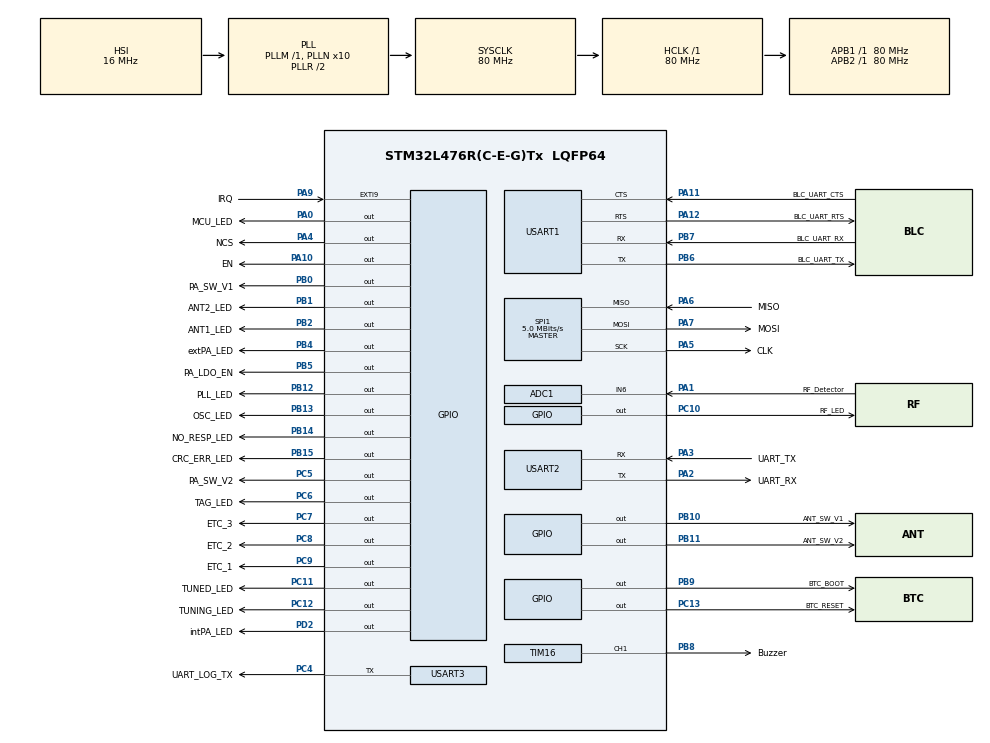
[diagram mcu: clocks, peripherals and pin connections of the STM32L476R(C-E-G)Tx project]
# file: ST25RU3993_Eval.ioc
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ADC1.Channel-0\#ChannelRegularConversion=ADC_CHANNEL_6
ADC1.NbrOfConversionFlag=1
ADC1.OffsetNumber-0\#ChannelRegularConversion=ADC_OFFSET_NONE
ADC1.Rank-0\#ChannelRegularConversion=1
ADC1.SamplingTime-0\#ChannelRegularConversion=ADC_SAMPLETIME_2CYCLES_5
ADC1.master=1
Dma.Request0=USART3_TX
Dma.Request1=USART2_TX
Dma.Request2=USART2_RX
Dma.USART2_RX.2.Direction=DMA_PERIPH_TO_MEMORY
Dma.USART2_RX.2.Instance=DMA1_Channel6
Dma.USART2_RX.2.MemDataAlignment=DMA_MDATAALIGN_BYTE
Dma.USART2_RX.2.MemInc=DMA_MINC_ENABLE
Dma.USART2_RX.2.Mode=DMA_CIRCULAR
Dma.USART2_RX.2.PeriphDataAlignment=DMA_PDATAALIGN_BYTE
Dma.USART2_RX.2.PeriphInc=DMA_PINC_DISABLE
Dma.USART2_RX.2.Priority=DMA_PRIORITY_MEDIUM
Dma.USART2_TX.1.Direction=DMA_MEMORY_TO_PERIPH
Dma.USART2_TX.1.Instance=DMA1_Channel7
Dma.USART2_TX.1.MemDataAlignment=DMA_MDATAALIGN_BYTE
Dma.USART2_TX.1.MemInc=DMA_MINC_ENABLE
Dma.USART2_TX.1.Mode=DMA_NORMAL
Dma.USART2_TX.1.PeriphDataAlignment=DMA_PDATAALIGN_BYTE
Dma.USART2_TX.1.PeriphInc=DMA_PINC_DISABLE
Dma.USART2_TX.1.Priority=DMA_PRIORITY_MEDIUM
Dma.USART3_TX.0.Direction=DMA_MEMORY_TO_PERIPH
Dma.USART3_TX.0.Instance=DMA1_Channel2
Dma.USART3_TX.0.MemDataAlignment=DMA_MDATAALIGN_BYTE
Dma.USART3_TX.0.MemInc=DMA_MINC_ENABLE
Dma.USART3_TX.0.Mode=DMA_NORMAL
Dma.USART3_TX.0.PeriphDataAlignment=DMA_PDATAALIGN_BYTE
Dma.USART3_TX.0.PeriphInc=DMA_PINC_DISABLE
Dma.USART3_TX.0.Priority=DMA_PRIORITY_LOW
Mcu.Family=STM32L4
Mcu.Name=STM32L476R(C-E-G)Tx
Mcu.Package=LQFP64
NVIC.ADC1_2_IRQn=true\:0\:0\:false\:false\:true\:true\:true
NVIC.DMA1_Channel2_IRQn=true\:0\:0\:false\:false\:true\:true\:true
NVIC.DMA1_Channel6_IRQn=true\:0\:0\:false\:false\:true\:true\:true
NVIC.DMA1_Channel7_IRQn=true\:0\:0\:false\:false\:true\:true\:true
NVIC.EXTI9_5_IRQn=true\:15\:0\:true\:false\:true\:true\:true
NVIC.PriorityGroup=NVIC_PRIORITYGROUP_4
NVIC.RTC_Alarm_IRQn=true\:0\:0\:false\:false\:true\:true\:true
NVIC.TIM4_IRQn=true\:0\:0\:false\:false\:true\:true\:true
NVIC.TIM5_IRQn=true\:0\:0\:false\:false\:true\:true\:true
NVIC.USART1_IRQn=true\:0\:0\:false\:false\:true\:true\:true
NVIC.USART2_IRQn=true\:2\:0\:true\:false\:true\:true\:true
NVIC.USART3_IRQn=true\:0\:0\:false\:false\:true\:true\:true
PA0.GPIO_Label=MCU_LED
PA0.GPIO_ModeDefaultOutputPP=GPIO_MODE_OUTPUT_PP
PA0.GPIO_PuPd=GPIO_NOPULL
PA0.GPIO_Speed=GPIO_SPEED_FREQ_LOW
PA0.PinState=GPIO_PIN_SET
PA0.Signal=GPIO_Output
PA1.GPIO_Label=RF_Detector
PA1.Signal=ADCx_IN6
PA10.GPIO_Label=EN
PA10.GPIO_Speed=GPIO_SPEED_FREQ_VERY_HIGH
PA10.Signal=GPIO_Output
PA11.GPIO_Label=BLC_UART_CTS
PA11.Mode=CTS_RTS
PA11.Signal=USART1_CTS
PA12.GPIO_Label=BLC_UART_RTS
PA12.Mode=CTS_RTS
PA12.Signal=USART1_RTS
PA13\ (JTMS-SWDIO).GPIO_Label=SWDIO
PA13\ (JTMS-SWDIO).Mode=Serial_Wire
PA13\ (JTMS-SWDIO).Signal=SYS_JTMS-SWDIO
PA14\ (JTCK-SWCLK).GPIO_Label=SWCLK
PA14\ (JTCK-SWCLK).Mode=Serial_Wire
PA14\ (JTCK-SWCLK).Signal=SYS_JTCK-SWCLK
PA15\ (JTDI).Signal=SYS_JTDI
PA2.GPIO_Label=UART_RX
PA2.Mode=Asynchronous
PA2.Signal=USART2_TX
PA3.GPIO_Label=UART_TX
PA3.Mode=Asynchronous
PA3.Signal=USART2_RX
PA4.GPIO_Label=NCS
PA4.GPIO_ModeDefaultOutputPP=GPIO_MODE_OUTPUT_PP
PA4.GPIO_Speed=GPIO_SPEED_FREQ_VERY_HIGH
PA4.PinState=GPIO_PIN_SET
PA4.Signal=GPIO_Output
PA5.GPIO_Label=CLK
PA5.Mode=Full_Duplex_Master
PA5.Signal=SPI1_SCK
PA6.GPIO_Label=MISO
PA6.Mode=Full_Duplex_Master
PA6.Signal=SPI1_MISO
PA7.GPIO_Label=MOSI
PA7.Mode=Full_Duplex_Master
PA7.Signal=SPI1_MOSI
PA9.GPIO_Label=IRQ
PA9.Signal=GPXTI9
PB0.GPIO_Label=PA_SW_V1
PB0.GPIO_Speed=GPIO_SPEED_FREQ_VERY_HIGH
PB0.PinState=GPIO_PIN_RESET
PB0.Signal=GPIO_Output
PB1.GPIO_Label=ANT2_LED
PB1.PinState=GPIO_PIN_SET
PB1.Signal=GPIO_Output
PB10.GPIO_Label=ANT_SW_V1
PB10.GPIO_Speed=GPIO_SPEED_FREQ_LOW
PB10.PinState=GPIO_PIN_RESET
PB10.Signal=GPIO_Output
PB11.GPIO_Label=ANT_SW_V2
PB11.PinState=GPIO_PIN_SET
PB11.Signal=GPIO_Output
PB12.GPIO_Label=PLL_LED
PB12.GPIO_ModeDefaultOutputPP=GPIO_MODE_OUTPUT_PP
PB12.GPIO_PuPd=GPIO_NOPULL
PB12.GPIO_Speed=GPIO_SPEED_FREQ_LOW
PB12.PinState=GPIO_PIN_SET
PB12.Signal=GPIO_Output
PB13.GPIO_Label=OSC_LED
PB13.GPIO_ModeDefaultOutputPP=GPIO_MODE_OUTPUT_PP
PB13.GPIO_PuPd=GPIO_NOPULL
PB13.GPIO_Speed=GPIO_SPEED_FREQ_LOW
PB13.PinState=GPIO_PIN_SET
PB13.Signal=GPIO_Output
PB14.GPIO_Label=NO_RESP_LED
PB14.GPIO_ModeDefaultOutputPP=GPIO_MODE_OUTPUT_PP
PB14.GPIO_PuPd=GPIO_NOPULL
PB14.GPIO_Speed=GPIO_SPEED_FREQ_LOW
PB14.PinState=GPIO_PIN_SET
PB14.Signal=GPIO_Output
PB15.GPIO_Label=CRC_ERR_LED
PB15.GPIO_ModeDefaultOutputPP=GPIO_MODE_OUTPUT_PP
PB15.GPIO_PuPd=GPIO_NOPULL
PB15.GPIO_Speed=GPIO_SPEED_FREQ_LOW
PB15.PinState=GPIO_PIN_SET
PB15.Signal=GPIO_Output
PB2.GPIO_Label=ANT1_LED
PB2.PinState=GPIO_PIN_SET
PB2.Signal=GPIO_Output
PB3\ (JTDO-TRACESWO).Signal=SYS_JTDO-SWO
PB4\ (NJTRST).GPIO_Label=extPA_LED
PB4\ (NJTRST).GPIO_ModeDefaultOutputPP=GPIO_MODE_OUTPUT_PP
PB4\ (NJTRST).GPIO_PuPd=GPIO_NOPULL
PB4\ (NJTRST).GPIO_Speed=GPIO_SPEED_FREQ_LOW
PB4\ (NJTRST).PinState=GPIO_PIN_SET
PB4\ (NJTRST).Signal=GPIO_Output
PB5.GPIO_Label=PA_LDO_EN
PB5.GPIO_Speed=GPIO_SPEED_FREQ_VERY_HIGH
PB5.Signal=GPIO_Output
PB6.GPIO_Label=BLC_UART_TX
PB6.Mode=Asynchronous
PB6.Signal=USART1_TX
PB7.GPIO_Label=BLC_UART_RX
PB7.Mode=Asynchronous
PB7.Signal=USART1_RX
PB8.GPIO_FM8=I2C_FASTMODEPLUS_PB8
PB8.GPIO_Label=Buzzer
PB8.GPIO_Speed=GPIO_SPEED_FREQ_VERY_HIGH
PB8.Signal=S_TIM16_CH1
PB9.GPIO_Label=BTC_BOOT
PB9.PinState=GPIO_PIN_RESET
PB9.Signal=GPIO_Output
PC10.GPIO_Label=RF_LED
PC10.GPIO_ModeDefaultOutputPP=GPIO_MODE_OUTPUT_PP
PC10.GPIO_PuPd=GPIO_NOPULL
PC10.GPIO_Speed=GPIO_SPEED_FREQ_LOW
PC10.PinState=GPIO_PIN_SET
PC10.Signal=GPIO_Output
PC11.GPIO_Label=TUNED_LED
PC11.GPIO_ModeDefaultOutputPP=GPIO_MODE_OUTPUT_PP
PC11.GPIO_PuPd=GPIO_NOPULL
PC11.GPIO_Speed=GPIO_SPEED_FREQ_LOW
PC11.PinState=GPIO_PIN_SET
PC11.Signal=GPIO_Output
PC12.GPIO_Label=TUNING_LED
PC12.GPIO_ModeDefaultOutputPP=GPIO_MODE_OUTPUT_PP
PC12.GPIO_PuPd=GPIO_NOPULL
PC12.GPIO_Speed=GPIO_SPEED_FREQ_LOW
PC12.PinState=GPIO_PIN_SET
PC12.Signal=GPIO_Output
PC13.GPIO_Label=BTC_RESET
PC13.PinState=GPIO_PIN_SET
PC13.Signal=GPIO_Output
PC14-OSC32_IN\ (PC14).GPIO_Label=OSC32_IN
PC14-OSC32_IN\ (PC14).Mode=LSE-External-Oscillator
PC14-OSC32_IN\ (PC14).Signal=RCC_OSC32_IN
PC15-OSC32_OUT\ (PC15).GPIO_Label=OSC32_OUT
PC15-OSC32_OUT\ (PC15).Mode=LSE-External-Oscillator
PC15-OSC32_OUT\ (PC15).Signal=RCC_OSC32_OUT
PC4.GPIO_Label=UART_LOG_TX
PC4.Mode=Half_duplex(single_wire_mode)
PC4.Signal=USART3_TX
PC5.GPIO_Label=PA_SW_V2
PC5.GPIO_Speed=GPIO_SPEED_FREQ_VERY_HIGH
PC5.PinState=GPIO_PIN_SET
PC5.Signal=GPIO_Output
PC6.GPIO_Label=TAG_LED
PC6.GPIO_ModeDefaultOutputPP=GPIO_MODE_OUTPUT_PP
PC6.GPIO_PuPd=GPIO_NOPULL
PC6.GPIO_Speed=GPIO_SPEED_FREQ_LOW
PC6.PinState=GPIO_PIN_SET
PC6.Signal=GPIO_Output
PC7.GPIO_Label=ETC_3
PC7.GPIO_Speed=GPIO_SPEED_FREQ_VERY_HIGH
PC7.Signal=GPIO_Output
PC8.GPIO_Label=ETC_2
PC8.GPIO_Speed=GPIO_SPEED_FREQ_VERY_HIGH
PC8.Signal=GPIO_Output
PC9.GPIO_Label=ETC_1
PC9.GPIO_Speed=GPIO_SPEED_FREQ_VERY_HIGH
PC9.Signal=GPIO_Output
PD2.GPIO_Label=intPA_LED
PD2.GPIO_ModeDefaultOutputPP=GPIO_MODE_OUTPUT_PP
PD2.GPIO_PuPd=GPIO_NOPULL
PD2.GPIO_Speed=GPIO_SPEED_FREQ_LOW
PD2.PinState=GPIO_PIN_SET
PD2.Signal=GPIO_Output
ProjectManager.HeapSize=0x900
ProjectManager.StackSize=0x900
ProjectManager.TargetToolchain=MDK-ARM V5
RCC.ADCFreq_Value=64000000
RCC.AHBFreq_Value=80000000
RCC.APB1Freq_Value=80000000
RCC.APB1TimFreq_Value=80000000
RCC.APB2Freq_Value=80000000
RCC.APB2TimFreq_Value=80000000
RCC.CortexFreq_Value=80000000
RCC.HCLKFreq_Value=80000000
RCC.HSE_VALUE=8000000
RCC.HSI_VALUE=16000000
RCC.MSI_VALUE=4000000
RCC.PLLN=10
RCC.PLLSourceVirtual=RCC_PLLSOURCE_HSI
RCC.PREFETCH_ENABLE=1
RCC.RTCClockSelection=RCC_RTCCLKSOURCE_LSE
RCC.SYSCLKFreq_VALUE=80000000
RCC.SYSCLKSource=RCC_SYSCLKSOURCE_PLLCLK
RCC.USBFreq_Value=64000000
RCC.VCOOutputFreq_Value=160000000
RTC.Alarm-Alarm\ A=RTC_ALARM_A
RTC.AlarmMaskDateWeekDay-Alarm\ A=RTC_ALARMMASK_DATEWEEKDAY
RTC.AlarmMaskHours-Alarm\ A=RTC_ALARMMASK_HOURS
RTC.AlarmMaskMinutes-Alarm\ A=RTC_ALARMMASK_MINUTES
RTC.AlarmMaskSeconds-Alarm\ A=RTC_ALARMMASK_SECONDS
RTC.AsynchPrediv=0
RTC.Seconds_A-Alarm\ A=1
RTC.SynchPrediv=326
SH.ADCx_IN6.0=ADC1_IN6,IN6-Single-Ended
SH.S_TIM16_CH1.0=TIM16_CH1,PWM Generation1 CH1
SPI1.BaudRatePrescaler=SPI_BAUDRATEPRESCALER_16
SPI1.CLKPhase=SPI_PHASE_2EDGE
SPI1.CLKPolarity=SPI_POLARITY_LOW
SPI1.CalculateBaudRate=5.0 MBits/s
SPI1.DataSize=SPI_DATASIZE_8BIT
SPI1.Direction=SPI_DIRECTION_2LINES
SPI1.Mode=SPI_MODE_MASTER
SPI1.VirtualType=VM_MASTER
TIM16.Channel=TIM_CHANNEL_1
TIM16.Period=25-1
TIM16.Prescaler=40000-1
TIM16.Pulse=25-1
TIM4.Period=600-1
TIM4.Prescaler=40000-1
TIM5.Period=13-1
TIM5.Prescaler=80-1
USART1.VirtualMode-Asynchronous=VM_ASYNC
USART1.WordLength=WORDLENGTH_8B
USART2.SwapParam=ADVFEATURE_SWAP_DISABLE
USART2.VirtualMode-Asynchronous=VM_ASYNC
USART2.WordLength=WORDLENGTH_8B
USART3.Mode=MODE_TX
USART3.VirtualMode-Half_duplex(single_wire_mode)=VM_ASYNC
USART3.WordLength=WORDLENGTH_8B
VP_RTC_VS_RTC_Activate.Mode=RTC_Enabled
VP_RTC_VS_RTC_Alarm_A_Intern.Mode=Alarm A
VP_RTC_VS_RTC_Calendar.Mode=RTC_Calendar
VP_TIM16_VS_ClockSourceINT.Mode=Enable_Timer
VP_TIM4_VS_ClockSourceINT.Mode=Internal
VP_TIM5_VS_ClockSourceINT.Mode=Internal
board=ST25RU3993_Eval

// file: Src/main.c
/* USER CODE BEGIN Header */
/**
  ******************************************************************************
  * @file           : main.c
  * @brief          : Main program body
  ******************************************************************************
  * @attention
  *
  * <h2><center>&copy; Copyright (c) 2020 STMicroelectronics.
  * All rights reserved.</center></h2>
  *
  * This software component is licensed by ST under BSD 3-Clause license,
  * the "License"; You may not use this file except in compliance with the
  * License. You may obtain a copy of the License at:
  *                        opensource.org/licenses/BSD-3-Clause
  *
  ******************************************************************************
  */
/* USER CODE END Header */

#include "main.h"
#include "adc.h"
#include "dma.h"
#include "rtc.h"
#include "spi.h"
#include "tim.h"
#include "usart.h"
#include "gpio.h"

/* USER CODE BEGIN Includes */
#include "platform.h"
#include "stream_dispatcher.h"
#include "evalAPI_commands.h"
#include "timer.h"
#include "bootloader.h"
#include "logger.h"
#include "bitbang.h"
#include "adc_driver.h"
#include "stdbool.h"

#if STUHFL_DEVICE_MODE
#include "stuhfl_evalAPI.h"
#endif

/* USER CODE END Includes */

/* USER CODE BEGIN PV */
/* Private variables ---------------------------------------------------------*/
extern volatile uint16_t rtcTimerMsValue;

#if STUHFL_DEVICE_MODE
#include "stuhfl_evalAPI.h"
static STUHFL_T_RET_CODE cbInventoryCycle(STUHFL_T_Inventory_Data *cycleData);

uint32_t inventoryCycleCbCnt = 0;
static void doInventoryCfg(bool singleTag, bool freqHopping, int antenna);
#endif

/* USER CODE END PV */

void SystemClock_Config(void);
/* USER CODE BEGIN PFP */
/* Private function prototypes -----------------------------------------------*/

/* USER CODE END PFP */

int main(void)
{
  /* USER CODE BEGIN 1 */
  bootloaderCheck();
  /* USER CODE END 1 */

  /* MCU Configuration--------------------------------------------------------*/

  /* Reset of all peripherals, Initializes the Flash interface and the Systick. */
  HAL_Init();

  /* Configure the system clock */
  SystemClock_Config();

  /* Initialize all configured peripherals */
  MX_GPIO_Init();
  MX_DMA_Init();
  MX_SPI1_Init();
  MX_TIM4_Init();
  MX_USART2_UART_Init();
  MX_TIM5_Init();
  MX_USART3_UART_Init();
  MX_ADC1_Init();
  MX_USART1_UART_Init();
  MX_TIM16_Init();
  MX_RTC_Init();
  /* USER CODE BEGIN 2 */
#if FAST_UART
  /* By default host UART communication is configured to 115200 baud.
     EVAL boad FDTI converter is able to handle baudrates up to 3MB/sec */

  /* highest possible baudrate that is supported by FTDI converter IC of EVAL board */
  UART_HANDLE.Init.BaudRate = 3000000;
  /* other available higher Baudrates: 230400; 460800; 500000; 576000; 921600; 1000000; 1152000; 1500000; 2000000; 2500000; */

  if (HAL_UART_Init(&UART_HANDLE) != HAL_OK){
    Error_Handler();
  }
#endif

  platformInit();
  ledTimerStart();
  LOG("FW Version = %02d.%02d.%02d.%02d\n",FW_VERSION_MAJOR, FW_VERSION_MINOR, FW_VERSION_MICRO, FW_VERSION_BUILD);
  /* USER CODE END 2 */

  /* Infinite loop */
  /* USER CODE BEGIN WHILE */
#if STUHFL_DEVICE_MODE

  /** EVAL API based device code starts here .. */

  STUHFL_T_Inventory_Option invOption;
  STUHFL_T_Inventory_Data invData = { 0 };
  // apply data storage location, where the found TAGs shall be stored
  STUHFL_T_Inventory_Tag tagData[1] = { 0 };
  invData.tagList = tagData;
  // setup options
  invOption.rssiMode = RSSI_MODE_2NDBYTE;
  invOption.roundCnt = 1;
  invOption.inventoryDelay = 0;
  invOption.reportOptions = 0x00;
  // assign correct size of applied tag storage
  invData.tagListSizeMax = 1;

  doInventoryCfg(true, false, ANTENNA_1);  // single TAG
  //doInventoryCfg(false, false, ANTENNA_2);   // multiple TAGs

  //Gen2_Inventory(&invOption, &invData);

  inventoryCycleCbCnt = 0;
  InventoryRunnerStart(&invOption, cbInventoryCycle, NULL, &invData);
  /**
    * NOTE: Starting the inventory runner is a blocking call. Whenever
    * transponders found the STUHFL_T_InventoryCycle callback is called.
    * Within this callback processing of the data should take place.
    *
    * To stop the runner and return from the InventoryRunnerStart function
    * there are 2 possibilities.
    *
    *   1. A call to InventoryRunnerStop. Can be called from the callback
    *   2. When the number of requested rounds are executed
    *
  */

  for(int i = 1; i < 16; i++){
    invOption.roundCnt = i;
    inventoryCycleCbCnt = 0;
    InventoryRunnerStart(&invOption, cbInventoryCycle, NULL, &invData);
    invOption.roundCnt = 0;
  }
#endif

  while (1)
  {
    /* USER CODE END WHILE */

    /* USER CODE BEGIN 3 */
    cycle();
  }
  /* USER CODE END 3 */
}

void SystemClock_Config(void)
{
  RCC_OscInitTypeDef RCC_OscInitStruct = {0};
  RCC_ClkInitTypeDef RCC_ClkInitStruct = {0};
  RCC_PeriphCLKInitTypeDef PeriphClkInit = {0};

  /** Configure LSE Drive Capability
  */
  HAL_PWR_EnableBkUpAccess();
  __HAL_RCC_LSEDRIVE_CONFIG(RCC_LSEDRIVE_LOW);
  /** Initializes the CPU, AHB and APB busses clocks
  */
  RCC_OscInitStruct.OscillatorType = RCC_OSCILLATORTYPE_HSI|RCC_OSCILLATORTYPE_LSE;
  RCC_OscInitStruct.LSEState = RCC_LSE_ON;
  RCC_OscInitStruct.HSIState = RCC_HSI_ON;
  RCC_OscInitStruct.HSICalibrationValue = RCC_HSICALIBRATION_DEFAULT;
  RCC_OscInitStruct.PLL.PLLState = RCC_PLL_ON;
  RCC_OscInitStruct.PLL.PLLSource = RCC_PLLSOURCE_HSI;
  RCC_OscInitStruct.PLL.PLLM = 1;
  RCC_OscInitStruct.PLL.PLLN = 10;
  RCC_OscInitStruct.PLL.PLLP = RCC_PLLP_DIV7;
  RCC_OscInitStruct.PLL.PLLQ = RCC_PLLQ_DIV2;
  RCC_OscInitStruct.PLL.PLLR = RCC_PLLR_DIV2;
  if (HAL_RCC_OscConfig(&RCC_OscInitStruct) != HAL_OK)
  {
    Error_Handler();
  }
  /** Initializes the CPU, AHB and APB busses clocks
  */
  RCC_ClkInitStruct.ClockType = RCC_CLOCKTYPE_HCLK|RCC_CLOCKTYPE_SYSCLK
                              |RCC_CLOCKTYPE_PCLK1|RCC_CLOCKTYPE_PCLK2;
  RCC_ClkInitStruct.SYSCLKSource = RCC_SYSCLKSOURCE_PLLCLK;
  RCC_ClkInitStruct.AHBCLKDivider = RCC_SYSCLK_DIV1;
  RCC_ClkInitStruct.APB1CLKDivider = RCC_HCLK_DIV1;
  RCC_ClkInitStruct.APB2CLKDivider = RCC_HCLK_DIV1;

  if (HAL_RCC_ClockConfig(&RCC_ClkInitStruct, FLASH_LATENCY_4) != HAL_OK)
  {
    Error_Handler();
  }
  PeriphClkInit.PeriphClockSelection = RCC_PERIPHCLK_RTC|RCC_PERIPHCLK_USART1
                              |RCC_PERIPHCLK_USART2|RCC_PERIPHCLK_USART3
                              |RCC_PERIPHCLK_ADC;
  PeriphClkInit.Usart1ClockSelection = RCC_USART1CLKSOURCE_PCLK2;
  PeriphClkInit.Usart2ClockSelection = RCC_USART2CLKSOURCE_PCLK1;
  PeriphClkInit.Usart3ClockSelection = RCC_USART3CLKSOURCE_PCLK1;
  PeriphClkInit.AdcClockSelection = RCC_ADCCLKSOURCE_PLLSAI1;
  PeriphClkInit.RTCClockSelection = RCC_RTCCLKSOURCE_LSE;
  PeriphClkInit.PLLSAI1.PLLSAI1Source = RCC_PLLSOURCE_HSI;
  PeriphClkInit.PLLSAI1.PLLSAI1M = 1;
  PeriphClkInit.PLLSAI1.PLLSAI1N = 8;
  PeriphClkInit.PLLSAI1.PLLSAI1P = RCC_PLLP_DIV7;
  PeriphClkInit.PLLSAI1.PLLSAI1Q = RCC_PLLQ_DIV2;
  PeriphClkInit.PLLSAI1.PLLSAI1R = RCC_PLLR_DIV2;
  PeriphClkInit.PLLSAI1.PLLSAI1ClockOut = RCC_PLLSAI1_ADC1CLK;
  if (HAL_RCCEx_PeriphCLKConfig(&PeriphClkInit) != HAL_OK)
  {
    Error_Handler();
  }
  /** Configure the main internal regulator output voltage
  */
  if (HAL_PWREx_ControlVoltageScaling(PWR_REGULATOR_VOLTAGE_SCALE1) != HAL_OK)
  {
    Error_Handler();
  }
}

/* USER CODE BEGIN 4 */
/*------------------------------------------------------------------------- */
/** overloaded function from stm32xxxx_hal_gpio.c,
  * define GPIO_IRQ_PIN appropriately */
void HAL_GPIO_EXTI_Callback(uint16_t GPIO_Pin)
{
    if(GPIO_Pin == GPIO_IRQ_PIN)
    {
        st25RU3993Isr();
    }
}

/*------------------------------------------------------------------------- */
/** overloaded function from stm32xxxx_hal_tim.c,
  * define TIMER_LED_HANDLE appropriately
  * define TIMER_BB_HANDLE appropriately */
void HAL_TIM_PeriodElapsedCallback(TIM_HandleTypeDef *htim)
{
#if EVAL || DISCOVERY
    if(htim == &TIMER_LED_HANDLE)
        HAL_GPIO_TogglePin(GPIO_LED_MCU_PORT,GPIO_LED_MCU_PIN);
#endif
}

/*------------------------------------------------------------------------- */
/** overloaded function from stm32xxxx_hal_rtc.c */
void HAL_RTC_AlarmAEventCallback(RTC_HandleTypeDef *hrtc)
{
    rtcTimerMsValue += 10;             // increase ms counter by 10 as period is 10ms
}

/*------------------------------------------------------------------------- */
/** overloaded function from stm32xxxx_hal_rtc.c */
void HAL_RTC_AlarmBEventCallback(RTC_HandleTypeDef *hrtc)
{
    rtcTimerMsValue += 10;             // increase ms counter by 10 as period is 10ms
}

/*------------------------------------------------------------------------- */
/** overloaded function from stm32xxxx_hal_uart.c,
  * define LOG_HANDLE appropriately */
void HAL_UART_TxHalfCpltCallback(UART_HandleTypeDef *huart)
{
    // when this happens we can write again the 1st half of the dma buffer
    if(huart == &LOG_HANDLE){
    }
}

extern volatile bool uartTxInProgress;
void HAL_UART_TxCpltCallback(UART_HandleTypeDef *huart)
{
    // when this happens when can write again the 2nd half of the dma buffer
    if(huart == &LOG_HANDLE){
    }

    if(huart == &UART_HANDLE){
        uartTxInProgress = false;
    }
}

/*------------------------------------------------------------------------- */
#if !JIGEN
/** overloaded function from stm32xxxx_hal_tim.c,
  * define ADC_HANDLE appropriately */
void HAL_ADC_ConvCpltCallback(ADC_HandleTypeDef* hadc)
{
    if(hadc == &ADC_HANDLE)
    {
        adcIsr();
    }
}
#endif

/*------------------------------------------------------------------------- */
#if STUHFL_DEVICE_MODE
static void doInventoryCfg(bool singleTag, bool freqHopping, int antenna)
{
    STUHFL_T_ST25RU3993_TxRx_Cfg txRxCfg;
    GetTxRxCfg(&txRxCfg);
    txRxCfg.txOutputLevel = -2;
    txRxCfg.rxSensitivity = 3;
    txRxCfg.usedAntenna = antenna;
    txRxCfg.alternateAntennaInterval = 1;
    SetTxRxCfg(&txRxCfg);

    STUHFL_T_ST25RU3993_Gen2Inventory_Cfg invGen2Cfg;
    GetGen2InventoryCfg(&invGen2Cfg);
    invGen2Cfg.fastInv = TRUE;
    invGen2Cfg.autoAck = FALSE;
    invGen2Cfg.readTID = FALSE;
    invGen2Cfg.startQ = singleTag ? 0 : 4;
    invGen2Cfg.adaptiveQEnable = singleTag ? 0 : 1;
    invGen2Cfg.adjustOptions = 0;
    invGen2Cfg.adjustC2 = 35;
    invGen2Cfg.adjustC1 = 15;
    invGen2Cfg.autoTuningAlgo = TUNING_ALGO_FAST;
    invGen2Cfg.autoTuningInterval = 7;
    invGen2Cfg.autoTuningLevel = 20;
    invGen2Cfg.adaptiveSensitivityEnable = true;
    invGen2Cfg.adaptiveSensitivityInterval = 5;
    invGen2Cfg.sel = 0;
    invGen2Cfg.session = GEN2_SESSION_S0;
    invGen2Cfg.target = GEN2_TARGET_A;
    invGen2Cfg.toggleTarget = true;
    SetGen2InventoryCfg(&invGen2Cfg);

    //
    STUHFL_T_ST25RU3993_Gen2Protocol_Cfg gen2ProtocolCfg;
    GetGen2ProtocolCfg(&gen2ProtocolCfg);
    gen2ProtocolCfg.tari = GEN2_TARI_12_50;
    gen2ProtocolCfg.blf = GEN2_LF_320;
    gen2ProtocolCfg.coding = GEN2_COD_MILLER2;
    gen2ProtocolCfg.trext = true;
    SetGen2ProtocolCfg(&gen2ProtocolCfg);

    if (freqHopping) {
        // EU frequnecy profile with hopping
        STUHFL_T_ST25RU3993_Freq_Profile freqProfile;
        freqProfile.profile = PROFILE_EUROPE;
        SetFreqProfile(&freqProfile);
    } else {
        STUHFL_T_ST25RU3993_Freq_Profile newProfile;
        newProfile.profile = PROFILE_CUSTOM;
        SetFreqProfile(&newProfile);

        // EU single frequency without hopping
        STUHFL_T_ST25RU3993_Freq_Profile_Add2Custom freqCustom;
        freqCustom.clearList = true;
        freqCustom.frequency = 865700;
        SetFreqProfileAdd2Custom(&freqCustom);

        // EU max sending time
        STUHFL_T_ST25RU3993_Freq_Hop freqHop;
        freqHop.maxSendingTime = 4000;
        SetFreqHop(&freqHop);
    }
}
static STUHFL_T_RET_CODE cbInventoryCycle(STUHFL_T_Inventory_Data *cycleData)
{
    inventoryCycleCbCnt++;
    return ERR_NONE;
}
#endif

/* USER CODE END 4 */

void Error_Handler(void)
{
  while(1)
  {
  }
}

/************************ (C) COPYRIGHT STMicroelectronics *****END OF FILE****/
